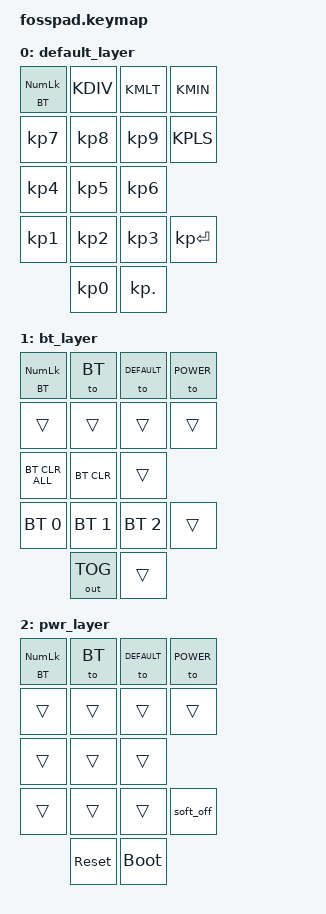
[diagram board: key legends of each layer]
#include <behaviors.dtsi>
#include <dt-bindings/zmk/keys.h>
#include <dt-bindings/zmk/bt.h>
#include <dt-bindings/zmk/outputs.h>


#define DEFAULT 0
#define BT 1
#define POWER 2

&soft_off {
          hold-time-ms = <3000>;
};

/ {
    keymap {
        compatible = "zmk,keymap";

        default_layer {
            // | BTLayer |  /   |   *   |   -   |
            // |    7    |  8   |   9   |   +   |
            // |    4    |  5   |   6   |       |
            // |    1    |  2   |   3   | Enter |
            // |         |  0   |   .   |       |
            
            bindings = <
                &lt BT KP_NUMLOCK       &kp KDIV    &kp KMLT    &kp KMIN
                &kp KP_N7               &kp KP_N8   &kp KP_N9   &kp KPLS
                &kp KP_N4               &kp KP_N5   &kp KP_N6
                &kp KP_N1               &kp KP_N2   &kp KP_N3   &kp KP_ENTER
                                        &kp KP_N0   &kp KP_DOT
            >;
        };

        bt_layer {
            // | BTLayer | TBTL  | DFLT  |  TPWR |
            // |  FLASH  |   8   |   9   |   +   |
            // | *CLRBT  | CLRBT |   6   |       |
            // |   BT0   |  BT1  |  BT2  | Enter |
            // |         |  TBT  |   .   |       |
            bindings = <
                &lt BT KP_NUMLOCK       &to  BT        &to DEFAULT    &to POWER
                &trans                  &trans         &trans         &trans
                &bt BT_CLR_ALL          &bt BT_CLR     &trans
                &bt BT_SEL 0            &bt BT_SEL 1   &bt BT_SEL 2   &trans
                                        &out OUT_TOG   &trans
            >;
        };
        pwr_layer {
            // | BTLayer | TBTL  | TDFLT |  TPWR |
            // |  FLASH  |   8   |   9   |   +   |
            // | *CLRBT  | CLRBT |   6   |       |
            // |   BT0   |  BT1  |  BT2  | Enter |
            // |         |  TBT  |   .   |       |
            bindings = <
                &lt BT KP_NUMLOCK       &to  BT        &to DEFAULT    &to POWER
                &trans                  &trans         &trans         &trans
                &trans                  &trans         &trans
                &trans                  &trans         &trans         &soft_off
                                        &sys_reset     &bootloader
            >;
        };
    };
};
